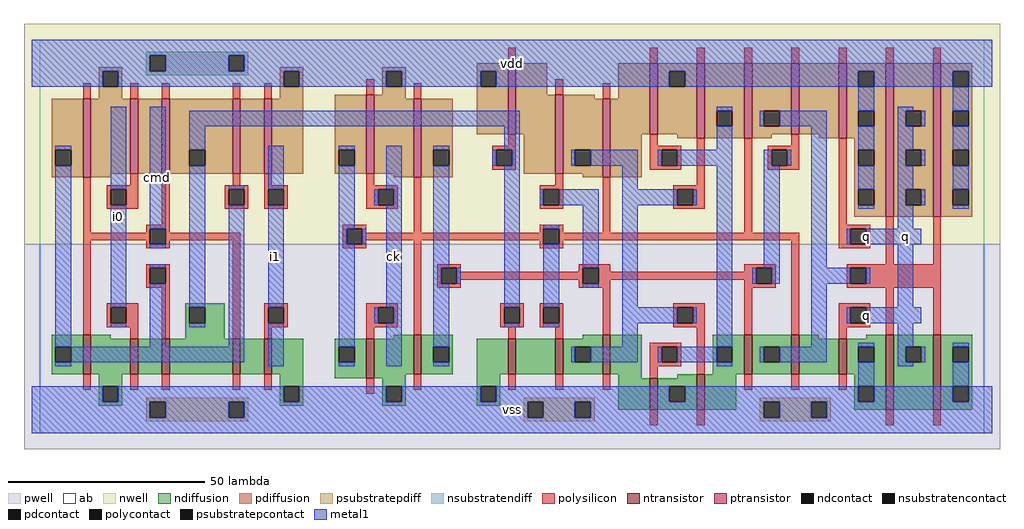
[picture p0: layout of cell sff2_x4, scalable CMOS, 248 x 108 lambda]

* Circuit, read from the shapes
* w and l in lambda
.subckt sff2_x4 ck cmd i0 i1 q vdd vss
M1 vss cmd n1 vss nfet w=10 l=2
M2 n2 i0 vss vss nfet w=9 l=2
M3 n3 n1 n2 vss nfet w=9 l=2
M4 n4 cmd n3 vss nfet w=9 l=2
M5 vss i1 n4 vss nfet w=9 l=2
M6 vss ck n5 vss nfet w=10 l=2
M7 n6 n5 vss vss nfet w=10 l=2
M8 n7 n3 vss vss nfet w=9 l=2
M9 n8 n5 n7 vss nfet w=9 l=2
M10 n9 n6 n8 vss nfet w=10 l=2
M11 vss n10 n9 vss nfet w=8 l=2
M12 n10 n8 vss vss nfet w=9 l=2
M13 n11 n6 n10 vss nfet w=10 l=2
M14 n12 n5 n11 vss nfet w=10 l=2
M15 vss q n12 vss nfet w=9 l=2
M16 q n11 vss vss nfet w=19 l=2 m=2
M17 vdd cmd n1 vdd pfet w=20 l=2
M18 n13 i0 vdd vdd pfet w=19 l=2
M19 n3 cmd n13 vdd pfet w=19 l=2
M20 n14 n1 n3 vdd pfet w=19 l=2
M21 vdd i1 n14 vdd pfet w=19 l=2
M22 vdd ck n5 vdd pfet w=20 l=2
M23 n6 n5 vdd vdd pfet w=20 l=2
M24 n15 n3 vdd vdd pfet w=18 l=2
M25 n8 n6 n15 vdd pfet w=20 l=2
M26 n16 n5 n8 vdd pfet w=20 l=2
M27 vdd n10 n16 vdd pfet w=18 l=2
M28 n10 n8 vdd vdd pfet w=19 l=2
M29 n11 n5 n10 vdd pfet w=19 l=2
M30 n17 n6 n11 vdd pfet w=18 l=2
M31 vdd q n17 vdd pfet w=19 l=2
M32 q n11 vdd vdd pfet w=39 l=2 m=2
.ends

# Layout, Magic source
magic
tech scmos
<< ab >>
rect 0 0 240 100
<< pwell >>
rect -4 -4 244 48
<< nwell >>
rect -4 48 244 104
<< polysilicon >>
rect 11 85 13 89
rect 119 94 121 98
rect 155 94 157 98
rect 167 94 169 98
rect 179 94 181 98
rect 191 94 193 98
rect 203 94 205 98
rect 215 94 217 98
rect 227 94 229 98
rect 23 85 25 89
rect 31 85 33 89
rect 49 85 51 89
rect 57 85 59 89
rect 83 86 85 90
rect 95 85 97 89
rect 11 51 13 65
rect 23 63 25 66
rect 17 62 25 63
rect 17 58 18 62
rect 22 58 25 62
rect 17 57 25 58
rect 31 53 33 66
rect 49 63 51 66
rect 57 63 59 66
rect 83 63 85 66
rect 131 86 133 90
rect 119 73 121 76
rect 115 72 121 73
rect 115 68 116 72
rect 120 68 121 72
rect 115 67 121 68
rect 143 85 145 89
rect 47 62 53 63
rect 47 58 48 62
rect 52 58 53 62
rect 47 57 53 58
rect 57 62 63 63
rect 57 58 58 62
rect 62 58 63 62
rect 57 57 63 58
rect 83 62 91 63
rect 83 58 86 62
rect 90 58 91 62
rect 83 57 91 58
rect 27 52 33 53
rect 27 51 28 52
rect 11 49 28 51
rect 11 25 13 49
rect 27 48 28 49
rect 32 51 33 52
rect 77 52 83 53
rect 32 49 51 51
rect 32 48 33 49
rect 27 47 33 48
rect 27 42 33 43
rect 27 38 28 42
rect 32 38 33 42
rect 27 37 33 38
rect 17 32 25 33
rect 17 28 18 32
rect 22 28 25 32
rect 17 27 25 28
rect 23 24 25 27
rect 31 24 33 37
rect 49 24 51 49
rect 77 48 78 52
rect 82 51 83 52
rect 95 51 97 65
rect 131 63 133 66
rect 155 73 157 76
rect 155 72 163 73
rect 155 68 158 72
rect 162 68 163 72
rect 155 67 163 68
rect 127 62 133 63
rect 127 58 128 62
rect 132 58 133 62
rect 127 57 133 58
rect 127 52 133 53
rect 127 51 128 52
rect 82 49 128 51
rect 82 48 83 49
rect 77 47 83 48
rect 57 32 63 33
rect 57 28 58 32
rect 62 28 63 32
rect 57 27 63 28
rect 83 32 91 33
rect 83 28 86 32
rect 90 28 91 32
rect 83 27 91 28
rect 57 24 59 27
rect 83 24 85 27
rect 95 25 97 49
rect 127 48 128 49
rect 132 51 133 52
rect 143 51 145 65
rect 167 63 169 75
rect 161 62 169 63
rect 161 58 162 62
rect 166 58 169 62
rect 161 57 169 58
rect 179 51 181 75
rect 191 73 193 76
rect 185 72 193 73
rect 185 68 186 72
rect 190 68 193 72
rect 185 67 193 68
rect 203 53 205 75
rect 203 52 211 53
rect 132 49 193 51
rect 132 48 133 49
rect 127 47 133 48
rect 101 42 107 43
rect 101 38 102 42
rect 106 41 107 42
rect 137 42 145 43
rect 137 41 138 42
rect 106 39 138 41
rect 106 38 107 39
rect 101 37 107 38
rect 137 38 138 39
rect 142 41 145 42
rect 179 42 187 43
rect 179 41 182 42
rect 142 39 182 41
rect 142 38 145 39
rect 137 37 145 38
rect 117 32 123 33
rect 117 28 118 32
rect 122 28 123 32
rect 117 27 123 28
rect 127 32 133 33
rect 127 28 128 32
rect 132 28 133 32
rect 127 27 133 28
rect 11 11 13 15
rect 23 11 25 15
rect 31 11 33 15
rect 49 11 51 15
rect 57 11 59 15
rect 119 24 121 27
rect 131 24 133 27
rect 143 25 145 37
rect 179 38 182 39
rect 186 38 187 42
rect 179 37 187 38
rect 161 32 169 33
rect 161 28 162 32
rect 166 28 169 32
rect 161 27 169 28
rect 83 10 85 14
rect 95 11 97 15
rect 119 11 121 15
rect 131 11 133 15
rect 143 11 145 15
rect 155 22 163 23
rect 155 18 158 22
rect 162 18 163 22
rect 155 17 163 18
rect 155 14 157 17
rect 167 15 169 27
rect 179 25 181 37
rect 191 25 193 49
rect 203 48 206 52
rect 210 48 211 52
rect 203 47 211 48
rect 215 43 217 55
rect 227 43 229 55
rect 205 42 229 43
rect 205 38 206 42
rect 210 38 229 42
rect 205 37 229 38
rect 203 32 211 33
rect 203 28 206 32
rect 210 28 211 32
rect 203 27 211 28
rect 203 24 205 27
rect 215 25 217 37
rect 227 25 229 37
rect 179 11 181 15
rect 191 11 193 15
rect 203 11 205 15
rect 155 2 157 6
rect 167 2 169 6
rect 215 2 217 6
rect 227 2 229 6
<< ndiffusion >>
rect 3 22 11 25
rect 3 18 4 22
rect 8 18 11 22
rect 3 15 11 18
rect 13 24 18 25
rect 37 32 47 33
rect 37 28 38 32
rect 42 28 47 32
rect 37 24 47 28
rect 90 24 95 25
rect 13 15 23 24
rect 25 15 31 24
rect 33 15 49 24
rect 51 15 57 24
rect 59 15 67 24
rect 15 12 21 15
rect 15 8 16 12
rect 20 8 21 12
rect 61 12 67 15
rect 75 22 83 24
rect 75 18 76 22
rect 80 18 83 22
rect 75 14 83 18
rect 85 15 95 24
rect 97 22 105 25
rect 138 24 143 25
rect 97 18 100 22
rect 104 18 105 22
rect 97 15 105 18
rect 111 15 119 24
rect 121 15 131 24
rect 133 22 143 24
rect 133 18 136 22
rect 140 18 143 22
rect 133 15 143 18
rect 145 15 153 25
rect 85 14 93 15
rect 15 7 21 8
rect 61 8 62 12
rect 66 8 67 12
rect 87 12 93 14
rect 61 7 67 8
rect 87 8 88 12
rect 92 8 93 12
rect 111 12 117 15
rect 87 7 93 8
rect 111 8 112 12
rect 116 8 117 12
rect 147 14 153 15
rect 171 22 179 25
rect 171 18 172 22
rect 176 18 179 22
rect 171 15 179 18
rect 181 22 191 25
rect 181 18 184 22
rect 188 18 191 22
rect 181 15 191 18
rect 193 24 198 25
rect 210 24 215 25
rect 193 15 203 24
rect 205 22 215 24
rect 205 18 208 22
rect 212 18 215 22
rect 205 15 215 18
rect 162 14 167 15
rect 111 7 117 8
rect 147 6 155 14
rect 157 12 167 14
rect 157 8 160 12
rect 164 8 167 12
rect 157 6 167 8
rect 169 6 177 15
rect 207 12 215 15
rect 207 8 208 12
rect 212 8 215 12
rect 207 6 215 8
rect 217 22 227 25
rect 217 18 220 22
rect 224 18 227 22
rect 217 6 227 18
rect 229 22 237 25
rect 229 18 232 22
rect 236 18 237 22
rect 229 12 237 18
rect 229 8 232 12
rect 236 8 237 12
rect 229 6 237 8
<< pdiffusion >>
rect 15 92 21 93
rect 15 88 16 92
rect 20 88 21 92
rect 61 92 67 93
rect 15 85 21 88
rect 61 88 62 92
rect 66 88 67 92
rect 87 92 93 93
rect 61 85 67 88
rect 87 88 88 92
rect 92 88 93 92
rect 111 92 119 94
rect 87 86 93 88
rect 3 72 11 85
rect 3 68 4 72
rect 8 68 11 72
rect 3 65 11 68
rect 13 66 23 85
rect 25 66 31 85
rect 33 72 49 85
rect 33 68 38 72
rect 42 68 49 72
rect 33 66 49 68
rect 51 66 57 85
rect 59 66 67 85
rect 75 72 83 86
rect 75 68 76 72
rect 80 68 83 72
rect 75 66 83 68
rect 85 85 93 86
rect 111 88 112 92
rect 116 88 119 92
rect 85 66 95 85
rect 13 65 18 66
rect 90 65 95 66
rect 97 72 105 85
rect 111 76 119 88
rect 121 86 129 94
rect 121 76 131 86
rect 97 68 100 72
rect 104 68 105 72
rect 97 65 105 68
rect 123 66 131 76
rect 133 85 141 86
rect 147 85 155 94
rect 133 72 143 85
rect 133 68 136 72
rect 140 68 143 72
rect 133 66 143 68
rect 138 65 143 66
rect 145 76 155 85
rect 157 92 167 94
rect 157 88 160 92
rect 164 88 167 92
rect 157 76 167 88
rect 145 65 153 76
rect 162 75 167 76
rect 169 82 179 94
rect 169 78 172 82
rect 176 78 179 82
rect 169 75 179 78
rect 181 82 191 94
rect 181 78 184 82
rect 188 78 191 82
rect 181 76 191 78
rect 193 76 203 94
rect 181 75 186 76
rect 198 75 203 76
rect 205 92 215 94
rect 205 88 208 92
rect 212 88 215 92
rect 205 82 215 88
rect 205 78 208 82
rect 212 78 215 82
rect 205 75 215 78
rect 207 72 215 75
rect 207 68 208 72
rect 212 68 215 72
rect 207 62 215 68
rect 207 58 208 62
rect 212 58 215 62
rect 207 55 215 58
rect 217 82 227 94
rect 217 78 220 82
rect 224 78 227 82
rect 217 72 227 78
rect 217 68 220 72
rect 224 68 227 72
rect 217 62 227 68
rect 217 58 220 62
rect 224 58 227 62
rect 217 55 227 58
rect 229 92 237 94
rect 229 88 232 92
rect 236 88 237 92
rect 229 82 237 88
rect 229 78 232 82
rect 236 78 237 82
rect 229 72 237 78
rect 229 68 232 72
rect 236 68 237 72
rect 229 62 237 68
rect 229 58 232 62
rect 236 58 237 62
rect 229 55 237 58
<< metal1 >>
rect -2 96 242 100
rect -2 92 28 96
rect 32 92 48 96
rect 52 92 242 96
rect -2 88 16 92
rect 20 88 62 92
rect 66 88 88 92
rect 92 88 112 92
rect 116 88 160 92
rect 164 88 208 92
rect 212 88 232 92
rect 236 88 242 92
rect 4 72 8 73
rect 4 22 8 68
rect 18 62 22 83
rect 18 32 22 58
rect 28 52 32 83
rect 172 82 176 83
rect 208 82 212 88
rect 28 47 32 48
rect 38 78 122 82
rect 38 72 42 78
rect 18 27 22 28
rect 28 42 32 43
rect 28 22 32 38
rect 38 32 42 68
rect 38 27 42 28
rect 48 62 52 63
rect 48 22 52 58
rect 8 18 52 22
rect 58 62 62 73
rect 58 32 62 58
rect 4 17 8 18
rect 58 17 62 28
rect 76 72 80 73
rect 76 52 80 68
rect 88 62 92 73
rect 85 58 86 62
rect 90 58 92 62
rect 76 48 78 52
rect 82 48 83 52
rect 76 22 80 48
rect 88 32 92 58
rect 85 28 86 32
rect 90 28 92 32
rect 76 17 80 18
rect 88 17 92 28
rect 100 72 104 73
rect 118 72 122 78
rect 183 78 184 82
rect 188 78 200 82
rect 172 72 176 78
rect 115 68 116 72
rect 120 68 122 72
rect 135 68 136 72
rect 140 68 152 72
rect 157 68 158 72
rect 162 68 176 72
rect 100 42 104 68
rect 100 38 102 42
rect 106 38 107 42
rect 100 22 104 38
rect 118 32 122 68
rect 148 62 152 68
rect 127 58 128 62
rect 132 58 142 62
rect 118 27 122 28
rect 128 52 132 53
rect 128 32 132 48
rect 138 42 142 58
rect 138 37 142 38
rect 148 58 162 62
rect 166 58 167 62
rect 128 27 132 28
rect 148 32 152 58
rect 148 28 162 32
rect 166 28 167 32
rect 148 22 152 28
rect 172 22 176 68
rect 184 68 186 72
rect 190 68 191 72
rect 184 42 188 68
rect 181 38 182 42
rect 186 38 188 42
rect 196 42 200 78
rect 208 72 212 78
rect 208 62 212 68
rect 208 57 212 58
rect 218 82 222 83
rect 232 82 236 88
rect 218 78 220 82
rect 224 78 225 82
rect 218 72 222 78
rect 232 72 236 78
rect 218 68 220 72
rect 224 68 225 72
rect 218 62 222 68
rect 232 62 236 68
rect 218 58 220 62
rect 224 58 225 62
rect 218 52 222 58
rect 232 57 236 58
rect 205 48 206 52
rect 210 48 224 52
rect 196 38 206 42
rect 210 38 211 42
rect 196 22 200 38
rect 218 32 222 48
rect 205 28 206 32
rect 210 28 224 32
rect 135 18 136 22
rect 140 18 152 22
rect 157 18 158 22
rect 162 18 172 22
rect 183 18 184 22
rect 188 18 200 22
rect 208 22 212 23
rect 100 17 104 18
rect 172 17 176 18
rect 208 12 212 18
rect 218 22 222 28
rect 232 22 236 23
rect 218 18 220 22
rect 224 18 225 22
rect 218 17 222 18
rect 232 12 236 18
rect -2 8 16 12
rect 20 8 62 12
rect 66 8 88 12
rect 92 8 112 12
rect 116 8 160 12
rect 164 8 208 12
rect 212 8 232 12
rect 236 8 242 12
rect -2 4 28 8
rect 32 4 48 8
rect 52 4 124 8
rect 128 4 136 8
rect 140 4 184 8
rect 188 4 196 8
rect 200 4 242 8
rect -2 0 242 4
<< ntransistor >>
rect 11 15 13 25
rect 23 15 25 24
rect 31 15 33 24
rect 49 15 51 24
rect 57 15 59 24
rect 83 14 85 24
rect 95 15 97 25
rect 119 15 121 24
rect 131 15 133 24
rect 143 15 145 25
rect 179 15 181 25
rect 191 15 193 25
rect 203 15 205 24
rect 155 6 157 14
rect 167 6 169 15
rect 215 6 217 25
rect 227 6 229 25
<< ptransistor >>
rect 11 65 13 85
rect 23 66 25 85
rect 31 66 33 85
rect 49 66 51 85
rect 57 66 59 85
rect 83 66 85 86
rect 95 65 97 85
rect 119 76 121 94
rect 131 66 133 86
rect 143 65 145 85
rect 155 76 157 94
rect 167 75 169 94
rect 179 75 181 94
rect 191 76 193 94
rect 203 75 205 94
rect 215 55 217 94
rect 227 55 229 94
<< polycontact >>
rect 18 58 22 62
rect 116 68 120 72
rect 48 58 52 62
rect 58 58 62 62
rect 86 58 90 62
rect 28 48 32 52
rect 28 38 32 42
rect 18 28 22 32
rect 78 48 82 52
rect 158 68 162 72
rect 128 58 132 62
rect 58 28 62 32
rect 86 28 90 32
rect 128 48 132 52
rect 162 58 166 62
rect 186 68 190 72
rect 102 38 106 42
rect 138 38 142 42
rect 118 28 122 32
rect 128 28 132 32
rect 182 38 186 42
rect 162 28 166 32
rect 158 18 162 22
rect 206 48 210 52
rect 206 38 210 42
rect 206 28 210 32
<< ndcontact >>
rect 4 18 8 22
rect 38 28 42 32
rect 16 8 20 12
rect 76 18 80 22
rect 100 18 104 22
rect 136 18 140 22
rect 62 8 66 12
rect 88 8 92 12
rect 112 8 116 12
rect 172 18 176 22
rect 184 18 188 22
rect 208 18 212 22
rect 160 8 164 12
rect 208 8 212 12
rect 220 18 224 22
rect 232 18 236 22
rect 232 8 236 12
<< pdcontact >>
rect 16 88 20 92
rect 62 88 66 92
rect 88 88 92 92
rect 4 68 8 72
rect 38 68 42 72
rect 76 68 80 72
rect 112 88 116 92
rect 100 68 104 72
rect 136 68 140 72
rect 160 88 164 92
rect 172 78 176 82
rect 184 78 188 82
rect 208 88 212 92
rect 208 78 212 82
rect 208 68 212 72
rect 208 58 212 62
rect 220 78 224 82
rect 220 68 224 72
rect 220 58 224 62
rect 232 88 236 92
rect 232 78 236 82
rect 232 68 236 72
rect 232 58 236 62
<< psubstratepcontact >>
rect 28 4 32 8
rect 48 4 52 8
rect 124 4 128 8
rect 136 4 140 8
rect 184 4 188 8
rect 196 4 200 8
<< nsubstratencontact >>
rect 28 92 32 96
rect 48 92 52 96
<< psubstratepdiff >>
rect 27 8 53 9
rect 27 4 28 8
rect 32 4 48 8
rect 52 4 53 8
rect 123 8 141 9
rect 27 3 53 4
rect 123 4 124 8
rect 128 4 136 8
rect 140 4 141 8
rect 183 8 201 9
rect 123 3 141 4
rect 183 4 184 8
rect 188 4 196 8
rect 200 4 201 8
rect 183 3 201 4
<< nsubstratendiff >>
rect 27 96 53 97
rect 27 92 28 96
rect 32 92 48 96
rect 52 92 53 96
rect 27 91 53 92
<< labels >>
rlabel metal1 20 55 20 55 6 i0
rlabel metal1 30 65 30 65 6 cmd
rlabel metal1 90 45 90 45 6 ck
rlabel metal1 60 45 60 45 6 i1
rlabel metal1 120 6 120 6 6 vss
rlabel metal1 120 94 120 94 6 vdd
rlabel metal1 210 30 210 30 6 q
rlabel metal1 220 50 220 50 6 q
rlabel metal1 210 50 210 50 6 q
<< end >>
